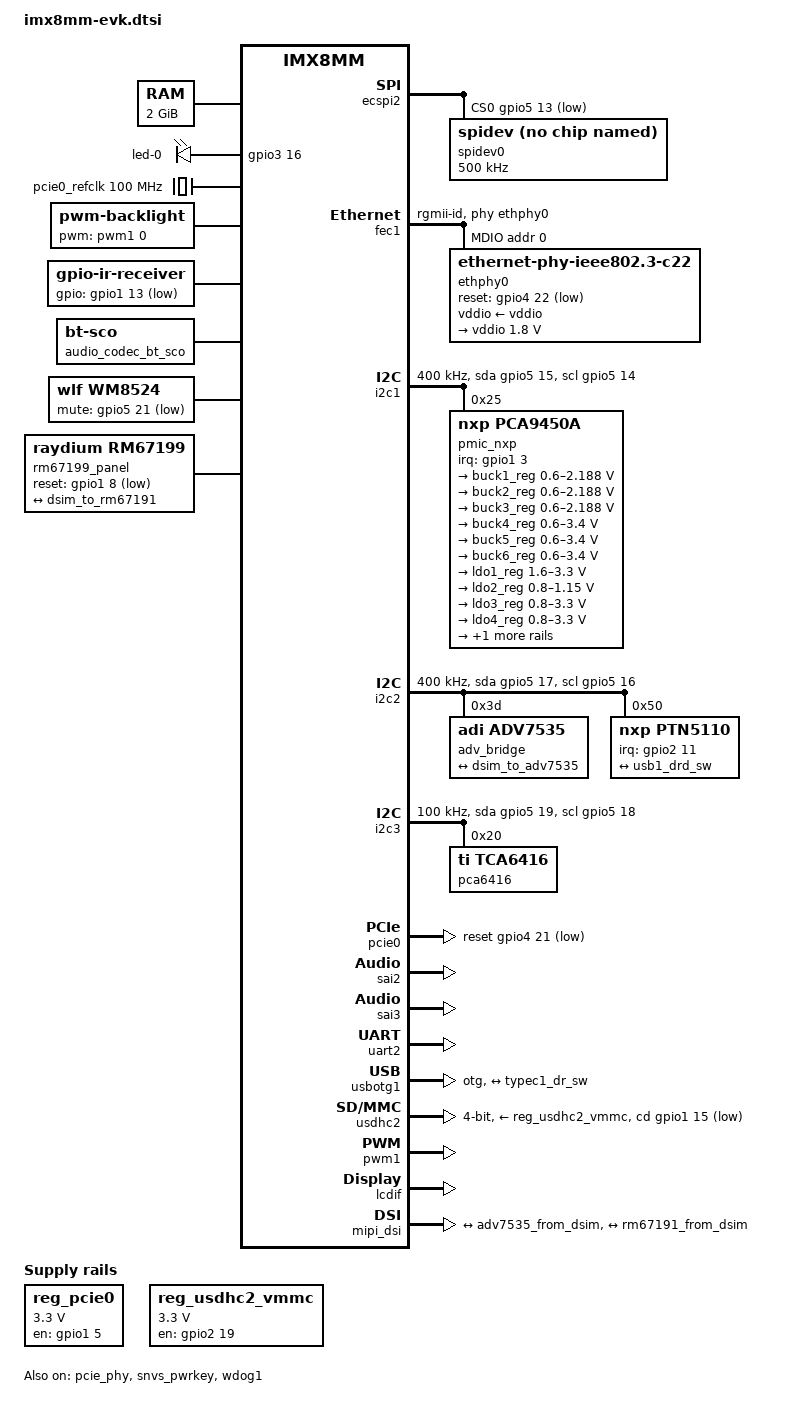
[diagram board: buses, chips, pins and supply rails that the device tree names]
// SPDX-License-Identifier: (GPL-2.0+ OR MIT)
/*
 * Copyright 2020,2022 NXP
 */

/dts-v1/;

#include <dt-bindings/phy/phy-imx8-pcie.h>
#include <dt-bindings/usb/pd.h>
#include "imx8mm.dtsi"

/ {
	chosen {
		stdout-path = &uart2;
	};

	memory@40000000 {
		device_type = "memory";
		reg = <0x0 0x40000000 0 0x80000000>;
	};

	leds {
		compatible = "gpio-leds";
		pinctrl-names = "default";
		pinctrl-0 = <&pinctrl_gpio_led>;

		led-0 {
			gpios = <&gpio3 16 GPIO_ACTIVE_HIGH>;
			default-state = "on";
		};
	};

	pcie0_refclk: pcie0-refclk {
		compatible = "fixed-clock";
		#clock-cells = <0>;
		clock-frequency = <100000000>;
	};

	reg_pcie0: regulator-pcie {
		compatible = "regulator-fixed";
		pinctrl-names = "default";
		pinctrl-0 = <&pinctrl_pcie0_reg>;
		regulator-name = "MPCIE_3V3";
		regulator-min-microvolt = <3300000>;
		regulator-max-microvolt = <3300000>;
		gpio = <&gpio1 5 GPIO_ACTIVE_HIGH>;
		enable-active-high;
	};

	reg_usdhc2_vmmc: regulator-usdhc2 {
		compatible = "regulator-fixed";
		pinctrl-names = "default";
		pinctrl-0 = <&pinctrl_reg_usdhc2_vmmc>;
		regulator-name = "VSD_3V3";
		regulator-min-microvolt = <3300000>;
		regulator-max-microvolt = <3300000>;
		gpio = <&gpio2 19 GPIO_ACTIVE_HIGH>;
		off-on-delay-us = <20000>;
		enable-active-high;
	};

	backlight: backlight {
		compatible = "pwm-backlight";
		pwms = <&pwm1 0 5000000 0>;
		brightness-levels = <0 255>;
		num-interpolated-steps = <255>;
		default-brightness-level = <250>;
	};

	ir-receiver {
		compatible = "gpio-ir-receiver";
		gpios = <&gpio1 13 GPIO_ACTIVE_LOW>;
		pinctrl-names = "default";
		pinctrl-0 = <&pinctrl_ir>;
		linux,autosuspend-period = <125>;
	};

	audio_codec_bt_sco: audio-codec-bt-sco {
		compatible = "linux,bt-sco";
		#sound-dai-cells = <1>;
	};

	wm8524: audio-codec {
		#sound-dai-cells = <0>;
		compatible = "wlf,wm8524";
		pinctrl-names = "default";
		pinctrl-0 = <&pinctrl_gpio_wlf>;
		wlf,mute-gpios = <&gpio5 21 GPIO_ACTIVE_LOW>;
	};

	sound-bt-sco {
		compatible = "simple-audio-card";
		simple-audio-card,name = "bt-sco-audio";
		simple-audio-card,format = "dsp_a";
		simple-audio-card,bitclock-inversion;
		simple-audio-card,frame-master = <&btcpu>;
		simple-audio-card,bitclock-master = <&btcpu>;

		btcpu: simple-audio-card,cpu {
			sound-dai = <&sai2>;
			dai-tdm-slot-num = <2>;
			dai-tdm-slot-width = <16>;
		};

		simple-audio-card,codec {
			sound-dai = <&audio_codec_bt_sco 1>;
		};
	};

	sound-wm8524 {
		compatible = "simple-audio-card";
		simple-audio-card,name = "wm8524-audio";
		simple-audio-card,format = "i2s";
		simple-audio-card,frame-master = <&cpudai>;
		simple-audio-card,bitclock-master = <&cpudai>;
		simple-audio-card,widgets =
			"Line", "Left Line Out Jack",
			"Line", "Right Line Out Jack";
		simple-audio-card,routing =
			"Left Line Out Jack", "LINEVOUTL",
			"Right Line Out Jack", "LINEVOUTR";

		cpudai: simple-audio-card,cpu {
			sound-dai = <&sai3>;
			dai-tdm-slot-num = <2>;
			dai-tdm-slot-width = <32>;
		};

		simple-audio-card,codec {
			sound-dai = <&wm8524>;
			clocks = <&clk IMX8MM_CLK_SAI3_ROOT>;
		};
	};

	dsi_host: dsi-host {
		compatible = "samsung,sec-mipi-dsi";
		status = "okay";
	};

	rm67199_panel {
		compatible = "raydium,rm67199";
		pinctrl-names = "default";
		pinctrl-0 = <&pinctrl_mipi_dsi_en>;
		reset-gpio = <&gpio1 8 GPIO_ACTIVE_LOW>;
		dsi-lanes = <4>;
		video-mode = <2>;	/* 0: burst mode
					 * 1: non-burst mode with sync event
					 * 2: non-burst mode with sync pulse
					 */
		panel-width-mm = <68>;
		panel-height-mm = <121>;
		status = "okay";

		port {
			rm67191_from_dsim: endpoint {
				remote-endpoint = <&dsim_to_rm67191>;
			};
		};
	};
};

&A53_0 {
	cpu-supply = <&buck2_reg>;
};

&A53_1 {
	cpu-supply = <&buck2_reg>;
};

&A53_2 {
	cpu-supply = <&buck2_reg>;
};

&A53_3 {
	cpu-supply = <&buck2_reg>;
};


&ecspi2 {
	#address-cells = <1>;
	#size-cells = <0>;
	pinctrl-names = "default";
	pinctrl-0 = <&pinctrl_ecspi2 &pinctrl_ecspi2_cs>;
	cs-gpios = <&gpio5 13 GPIO_ACTIVE_LOW>;
	status = "okay";

	spidev0: spi@0 {
		reg = <0>;
		compatible = "rohm,dh2228fv";
		spi-max-frequency = <500000>;
	};
};

&fec1 {
	pinctrl-names = "default";
	pinctrl-0 = <&pinctrl_fec1>;
	phy-mode = "rgmii-id";
	phy-handle = <&ethphy0>;
	fsl,magic-packet;
	status = "okay";

	mdio {
		#address-cells = <1>;
		#size-cells = <0>;

		ethphy0: ethernet-phy@0 {
			compatible = "ethernet-phy-ieee802.3-c22";
			reg = <0>;
			reset-gpios = <&gpio4 22 GPIO_ACTIVE_LOW>;
			reset-assert-us = <15000>;
			reset-deassert-us = <100000>;
			qca,disable-smarteee;
			vddio-supply = <&vddio>;

			vddio: vddio-regulator {
				regulator-min-microvolt = <1800000>;
				regulator-max-microvolt = <1800000>;
			};
		};
	};
};

&i2c1 {
	clock-frequency = <400000>;
	pinctrl-names = "default", "gpio";
	pinctrl-0 = <&pinctrl_i2c1>;
	pinctrl-1 = <&pinctrl_i2c1_gpio>;
	scl-gpios = <&gpio5 14 GPIO_ACTIVE_HIGH>;
	sda-gpios = <&gpio5 15 GPIO_ACTIVE_HIGH>;
	status = "okay";

	pmic_nxp: pca9450@25 {
		compatible = "nxp,pca9450a";
		reg = <0x25>;
		pinctrl-0 = <&pinctrl_pmic>;
		pinctrl-names = "default";
		interrupt-parent = <&gpio1>;
		interrupts = <3 IRQ_TYPE_LEVEL_LOW>;

		regulators {
			buck1_reg: BUCK1 {
				regulator-name = "BUCK1";
				regulator-min-microvolt = <600000>;
				regulator-max-microvolt = <2187500>;
				regulator-boot-on;
				regulator-always-on;
				regulator-ramp-delay = <3125>;
				nxp,dvs-run-voltage = <850000>;
				nxp,dvs-standby-voltage = <800000>;
			};

			buck2_reg: BUCK2 {
				regulator-name = "BUCK2";
				regulator-min-microvolt = <600000>;
				regulator-max-microvolt = <2187500>;
				regulator-boot-on;
				regulator-always-on;
				regulator-ramp-delay = <3125>;
			};

			buck3_reg: BUCK3 {
				regulator-name = "BUCK3";
				regulator-min-microvolt = <600000>;
				regulator-max-microvolt = <2187500>;
				regulator-boot-on;
				regulator-always-on;
			};

			buck4_reg: BUCK4 {
				regulator-name = "BUCK4";
				regulator-min-microvolt = <600000>;
				regulator-max-microvolt = <3400000>;
				regulator-boot-on;
				regulator-always-on;
			};

			buck5_reg: BUCK5 {
				regulator-name = "BUCK5";
				regulator-min-microvolt = <600000>;
				regulator-max-microvolt = <3400000>;
				regulator-boot-on;
				regulator-always-on;
			};

			buck6_reg: BUCK6 {
				regulator-name = "BUCK6";
				regulator-min-microvolt = <600000>;
				regulator-max-microvolt = <3400000>;
				regulator-boot-on;
				regulator-always-on;
			};

			ldo1_reg: LDO1 {
				regulator-name = "LDO1";
				regulator-min-microvolt = <1600000>;
				regulator-max-microvolt = <3300000>;
				regulator-boot-on;
				regulator-always-on;
			};

			ldo2_reg: LDO2 {
				regulator-name = "LDO2";
				regulator-min-microvolt = <800000>;
				regulator-max-microvolt = <1150000>;
				regulator-boot-on;
				regulator-always-on;
			};

			ldo3_reg: LDO3 {
				regulator-name = "LDO3";
				regulator-min-microvolt = <800000>;
				regulator-max-microvolt = <3300000>;
				regulator-boot-on;
				regulator-always-on;
			};

			ldo4_reg: LDO4 {
				regulator-name = "LDO4";
				regulator-min-microvolt = <800000>;
				regulator-max-microvolt = <3300000>;
				regulator-boot-on;
				regulator-always-on;
			};

			ldo5_reg: LDO5 {
				regulator-name = "LDO5";
				regulator-min-microvolt = <1800000>;
				regulator-max-microvolt = <3300000>;
			};

		};
	};
};

&i2c2 {
	clock-frequency = <400000>;
	pinctrl-names = "default", "gpio";
	pinctrl-0 = <&pinctrl_i2c2>;
	pinctrl-1 = <&pinctrl_i2c2_gpio>;
	scl-gpios = <&gpio5 16 GPIO_ACTIVE_HIGH>;
	sda-gpios = <&gpio5 17 GPIO_ACTIVE_HIGH>;
	status = "okay";

	adv_bridge: adv7535@3d {
		compatible = "adi,adv7535";
		reg = <0x3d>;
		adi,addr-cec = <0x3c>;
		adi,dsi-lanes = <4>;
		status = "okay";

		port {
			adv7535_from_dsim: endpoint {
				remote-endpoint = <&dsim_to_adv7535>;
			};
		};
	};

	ptn5110: tcpc@50 {
		compatible = "nxp,ptn5110";
		pinctrl-names = "default";
		pinctrl-0 = <&pinctrl_typec1>;
		reg = <0x50>;
		interrupt-parent = <&gpio2>;
		interrupts = <11 8>;
		status = "okay";

		port {
			typec1_dr_sw: endpoint {
				remote-endpoint = <&usb1_drd_sw>;
			};
		};

		typec1_con: connector {
			compatible = "usb-c-connector";
			label = "USB-C";
			power-role = "dual";
			data-role = "dual";
			try-power-role = "sink";
			source-pdos = <PDO_FIXED(5000, 3000, PDO_FIXED_USB_COMM)>;
			sink-pdos = <PDO_FIXED(5000, 3000, PDO_FIXED_USB_COMM)
				     PDO_VAR(5000, 20000, 3000)>;
			op-sink-microwatt = <15000000>;
			self-powered;
		};
	};
};

&i2c3 {
	clock-frequency = <100000>;
	pinctrl-names = "default", "gpio";
	pinctrl-0 = <&pinctrl_i2c3>;
	pinctrl-1 = <&pinctrl_i2c3_gpio>;
	scl-gpios = <&gpio5 18 GPIO_ACTIVE_HIGH>;
	sda-gpios = <&gpio5 19 GPIO_ACTIVE_HIGH>;
	status = "okay";

	pca6416: gpio@20 {
		compatible = "ti,tca6416";
		reg = <0x20>;
		gpio-controller;
		#gpio-cells = <2>;
	};
};

&pcie_phy {
	fsl,refclk-pad-mode = <IMX8_PCIE_REFCLK_PAD_INPUT>;
	fsl,tx-deemph-gen1 = <0x2d>;
	fsl,tx-deemph-gen2 = <0xf>;
	clocks = <&pcie0_refclk>;
	status = "okay";
};

&pcie0 {
	pinctrl-names = "default";
	pinctrl-0 = <&pinctrl_pcie0>;
	reset-gpio = <&gpio4 21 GPIO_ACTIVE_LOW>;
	clocks = <&clk IMX8MM_CLK_PCIE1_ROOT>, <&clk IMX8MM_CLK_PCIE1_AUX>,
		 <&pcie0_refclk>;
	clock-names = "pcie", "pcie_aux", "pcie_bus";
	assigned-clocks = <&clk IMX8MM_CLK_PCIE1_AUX>,
			  <&clk IMX8MM_CLK_PCIE1_CTRL>;
	assigned-clock-rates = <10000000>, <250000000>;
	assigned-clock-parents = <&clk IMX8MM_SYS_PLL2_50M>,
				 <&clk IMX8MM_SYS_PLL2_250M>;
	vpcie-supply = <&reg_pcie0>;
	status = "okay";
};

&sai2 {
	#sound-dai-cells = <0>;
	pinctrl-names = "default";
	pinctrl-0 = <&pinctrl_sai2>;
	assigned-clocks = <&clk IMX8MM_CLK_SAI2>;
	assigned-clock-parents = <&clk IMX8MM_AUDIO_PLL1_OUT>;
	assigned-clock-rates = <24576000>;
	status = "okay";
};

&sai3 {
	pinctrl-names = "default";
	pinctrl-0 = <&pinctrl_sai3>;
	assigned-clocks = <&clk IMX8MM_CLK_SAI3>;
	assigned-clock-parents = <&clk IMX8MM_AUDIO_PLL1_OUT>;
	assigned-clock-rates = <24576000>;
	status = "okay";
};

&snvs_pwrkey {
	status = "okay";
};

&uart2 { /* console */
	pinctrl-names = "default";
	pinctrl-0 = <&pinctrl_uart2>;
	status = "okay";
};

&usbotg1 {
	dr_mode = "otg";
	hnp-disable;
	srp-disable;
	adp-disable;
	usb-role-switch;
	disable-over-current;
	samsung,picophy-pre-emp-curr-control = <3>;
	samsung,picophy-dc-vol-level-adjust = <7>;
	status = "okay";

	port {
		usb1_drd_sw: endpoint {
			remote-endpoint = <&typec1_dr_sw>;
		};
	};
};

&usdhc2 {
	assigned-clocks = <&clk IMX8MM_CLK_USDHC2>;
	assigned-clock-rates = <200000000>;
	pinctrl-names = "default", "state_100mhz", "state_200mhz";
	pinctrl-0 = <&pinctrl_usdhc2>, <&pinctrl_usdhc2_gpio>;
	pinctrl-1 = <&pinctrl_usdhc2_100mhz>, <&pinctrl_usdhc2_gpio>;
	pinctrl-2 = <&pinctrl_usdhc2_200mhz>, <&pinctrl_usdhc2_gpio>;
	cd-gpios = <&gpio1 15 GPIO_ACTIVE_LOW>;
	bus-width = <4>;
	vmmc-supply = <&reg_usdhc2_vmmc>;
	status = "okay";
};

&wdog1 {
	pinctrl-names = "default";
	pinctrl-0 = <&pinctrl_wdog>;
	fsl,ext-reset-output;
	status = "okay";
};

&pwm1 {
	pinctrl-names = "default";
	pinctrl-0 = <&pinctrl_backlight>;
	status = "okay";
};

&lcdif {
	display = <&display0>;
	status = "okay";

	display0: display@0 {
		bits-per-pixel = <24>;
		bus-width = <24>;
	};
};

&mipi_dsi {
	status = "okay";

	port@1 {
		dsim_to_adv7535: endpoint {
			remote-endpoint = <&adv7535_from_dsim>;
		};
	};

	port@2 {
		dsim_to_rm67191: endpoint {
			remote-endpoint = <&rm67191_from_dsim>;
		};
	};
};

&iomuxc {
	pinctrl_ecspi2: ecspi2grp {
		fsl,pins = <
			MX8MM_IOMUXC_ECSPI2_SCLK_ECSPI2_SCLK		0x82
			MX8MM_IOMUXC_ECSPI2_MOSI_ECSPI2_MOSI		0x82
			MX8MM_IOMUXC_ECSPI2_MISO_ECSPI2_MISO		0x82
		>;
	};

	pinctrl_ecspi2_cs: ecspi2csgrp {
		fsl,pins = <
			MX8MM_IOMUXC_ECSPI2_SS0_GPIO5_IO13		0x40000
		>;
	};

	pinctrl_fec1: fec1grp {
		fsl,pins = <
			MX8MM_IOMUXC_ENET_MDC_ENET1_MDC			0x3
			MX8MM_IOMUXC_ENET_MDIO_ENET1_MDIO		0x3
			MX8MM_IOMUXC_ENET_TD3_ENET1_RGMII_TD3		0x1f
			MX8MM_IOMUXC_ENET_TD2_ENET1_RGMII_TD2		0x1f
			MX8MM_IOMUXC_ENET_TD1_ENET1_RGMII_TD1		0x1f
			MX8MM_IOMUXC_ENET_TD0_ENET1_RGMII_TD0		0x1f
			MX8MM_IOMUXC_ENET_RD3_ENET1_RGMII_RD3		0x91
			MX8MM_IOMUXC_ENET_RD2_ENET1_RGMII_RD2		0x91
			MX8MM_IOMUXC_ENET_RD1_ENET1_RGMII_RD1		0x91
			MX8MM_IOMUXC_ENET_RD0_ENET1_RGMII_RD0		0x91
			MX8MM_IOMUXC_ENET_TXC_ENET1_RGMII_TXC		0x1f
			MX8MM_IOMUXC_ENET_RXC_ENET1_RGMII_RXC		0x91
			MX8MM_IOMUXC_ENET_RX_CTL_ENET1_RGMII_RX_CTL	0x91
			MX8MM_IOMUXC_ENET_TX_CTL_ENET1_RGMII_TX_CTL	0x1f
			MX8MM_IOMUXC_SAI2_RXC_GPIO4_IO22		0x19
		>;
	};

	pinctrl_gpio_led: gpioledgrp {
		fsl,pins = <
			MX8MM_IOMUXC_NAND_READY_B_GPIO3_IO16	0x19
		>;
	};

	pinctrl_ir: irgrp {
		fsl,pins = <
			MX8MM_IOMUXC_GPIO1_IO13_GPIO1_IO13              0x4f
		>;
	};

	pinctrl_gpio_wlf: gpiowlfgrp {
		fsl,pins = <
			MX8MM_IOMUXC_I2C4_SDA_GPIO5_IO21	0xd6
		>;
	};

	pinctrl_i2c1: i2c1grp {
		fsl,pins = <
			MX8MM_IOMUXC_I2C1_SCL_I2C1_SCL			0x400001c3
			MX8MM_IOMUXC_I2C1_SDA_I2C1_SDA			0x400001c3
		>;
	};

	pinctrl_i2c2: i2c2grp {
		fsl,pins = <
			MX8MM_IOMUXC_I2C2_SCL_I2C2_SCL			0x400001c3
			MX8MM_IOMUXC_I2C2_SDA_I2C2_SDA			0x400001c3
		>;
	};

	pinctrl_i2c3: i2c3grp {
		fsl,pins = <
			MX8MM_IOMUXC_I2C3_SCL_I2C3_SCL			0x400001c3
			MX8MM_IOMUXC_I2C3_SDA_I2C3_SDA			0x400001c3
		>;
	};

	pinctrl_pcie0: pcie0grp {
		fsl,pins = <
			MX8MM_IOMUXC_I2C4_SCL_PCIE1_CLKREQ_B    0x61
			MX8MM_IOMUXC_SAI2_RXFS_GPIO4_IO21       0x41
		>;
	};

	pinctrl_pcie0_reg: pcie0reggrp {
		fsl,pins = <
			MX8MM_IOMUXC_GPIO1_IO05_GPIO1_IO5       0x41
		>;
	};

	pinctrl_i2c1_gpio: i2c1-gpiogrp {
		fsl,pins = <
			MX8MM_IOMUXC_I2C1_SCL_GPIO5_IO14        		0x1c3
			MX8MM_IOMUXC_I2C1_SDA_GPIO5_IO15        	0x1c3
		>;
	};

	pinctrl_i2c2_gpio: i2c2-gpiogrp {
		fsl,pins = <
			MX8MM_IOMUXC_I2C2_SCL_GPIO5_IO16        		0x1c3
			MX8MM_IOMUXC_I2C2_SDA_GPIO5_IO17        	0x1c3
		>;
	};

	pinctrl_i2c3_gpio: i2c3-gpiogrp {
		fsl,pins = <
			MX8MM_IOMUXC_I2C3_SCL_GPIO5_IO18        		0x1c3
			MX8MM_IOMUXC_I2C3_SDA_GPIO5_IO19        	0x1c3
		>;
	};

	pinctrl_pmic: pmicirqgrp {
		fsl,pins = <
			MX8MM_IOMUXC_GPIO1_IO03_GPIO1_IO3		0x141
		>;
	};

	pinctrl_reg_usdhc2_vmmc: regusdhc2vmmcgrp {
		fsl,pins = <
			MX8MM_IOMUXC_SD2_RESET_B_GPIO2_IO19	0x41
		>;
	};

	pinctrl_sai2: sai2grp {
		fsl,pins = <
			MX8MM_IOMUXC_SAI2_TXC_SAI2_TX_BCLK      0xd6
			MX8MM_IOMUXC_SAI2_TXFS_SAI2_TX_SYNC     0xd6
			MX8MM_IOMUXC_SAI2_TXD0_SAI2_TX_DATA0    0xd6
			MX8MM_IOMUXC_SAI2_RXD0_SAI2_RX_DATA0    0xd6
		>;
	};

	pinctrl_sai3: sai3grp {
		fsl,pins = <
			MX8MM_IOMUXC_SAI3_TXFS_SAI3_TX_SYNC     0xd6
			MX8MM_IOMUXC_SAI3_TXC_SAI3_TX_BCLK      0xd6
			MX8MM_IOMUXC_SAI3_MCLK_SAI3_MCLK        0xd6
			MX8MM_IOMUXC_SAI3_TXD_SAI3_TX_DATA0     0xd6
		>;
	};

	pinctrl_typec1: typec1grp {
		fsl,pins = <
			MX8MM_IOMUXC_SD1_STROBE_GPIO2_IO11	0x159
		>;
	};

	pinctrl_uart2: uart2grp {
		fsl,pins = <
			MX8MM_IOMUXC_UART2_RXD_UART2_DCE_RX	0x140
			MX8MM_IOMUXC_UART2_TXD_UART2_DCE_TX	0x140
		>;
	};

	pinctrl_usdhc2_gpio: usdhc2grpgpiogrp {
		fsl,pins = <
			MX8MM_IOMUXC_GPIO1_IO15_GPIO1_IO15	0x1c4
		>;
	};

	pinctrl_usdhc2: usdhc2grp {
		fsl,pins = <
			MX8MM_IOMUXC_SD2_CLK_USDHC2_CLK		0x190
			MX8MM_IOMUXC_SD2_CMD_USDHC2_CMD		0x1d0
			MX8MM_IOMUXC_SD2_DATA0_USDHC2_DATA0	0x1d0
			MX8MM_IOMUXC_SD2_DATA1_USDHC2_DATA1	0x1d0
			MX8MM_IOMUXC_SD2_DATA2_USDHC2_DATA2	0x1d0
			MX8MM_IOMUXC_SD2_DATA3_USDHC2_DATA3	0x1d0
			MX8MM_IOMUXC_GPIO1_IO04_USDHC2_VSELECT	0x1d0
		>;
	};

	pinctrl_usdhc2_100mhz: usdhc2-100mhzgrp {
		fsl,pins = <
			MX8MM_IOMUXC_SD2_CLK_USDHC2_CLK		0x194
			MX8MM_IOMUXC_SD2_CMD_USDHC2_CMD		0x1d4
			MX8MM_IOMUXC_SD2_DATA0_USDHC2_DATA0	0x1d4
			MX8MM_IOMUXC_SD2_DATA1_USDHC2_DATA1	0x1d4
			MX8MM_IOMUXC_SD2_DATA2_USDHC2_DATA2	0x1d4
			MX8MM_IOMUXC_SD2_DATA3_USDHC2_DATA3	0x1d4
			MX8MM_IOMUXC_GPIO1_IO04_USDHC2_VSELECT	0x1d0
		>;
	};

	pinctrl_usdhc2_200mhz: usdhc2-200mhzgrp {
		fsl,pins = <
			MX8MM_IOMUXC_SD2_CLK_USDHC2_CLK		0x196
			MX8MM_IOMUXC_SD2_CMD_USDHC2_CMD		0x1d6
			MX8MM_IOMUXC_SD2_DATA0_USDHC2_DATA0	0x1d6
			MX8MM_IOMUXC_SD2_DATA1_USDHC2_DATA1	0x1d6
			MX8MM_IOMUXC_SD2_DATA2_USDHC2_DATA2	0x1d6
			MX8MM_IOMUXC_SD2_DATA3_USDHC2_DATA3	0x1d6
			MX8MM_IOMUXC_GPIO1_IO04_USDHC2_VSELECT	0x1d0
		>;
	};

	pinctrl_wdog: wdoggrp {
		fsl,pins = <
			MX8MM_IOMUXC_GPIO1_IO02_WDOG1_WDOG_B	0x166
		>;
	};

	pinctrl_backlight: backlightgrp {
		fsl,pins = <
			MX8MM_IOMUXC_GPIO1_IO01_PWM1_OUT	0x06
		>;
	};

	pinctrl_mipi_dsi_en: mipidsiengrp {
		fsl,pins = <
			MX8MM_IOMUXC_GPIO1_IO08_GPIO1_IO8		0x19
		>;
	};
};
